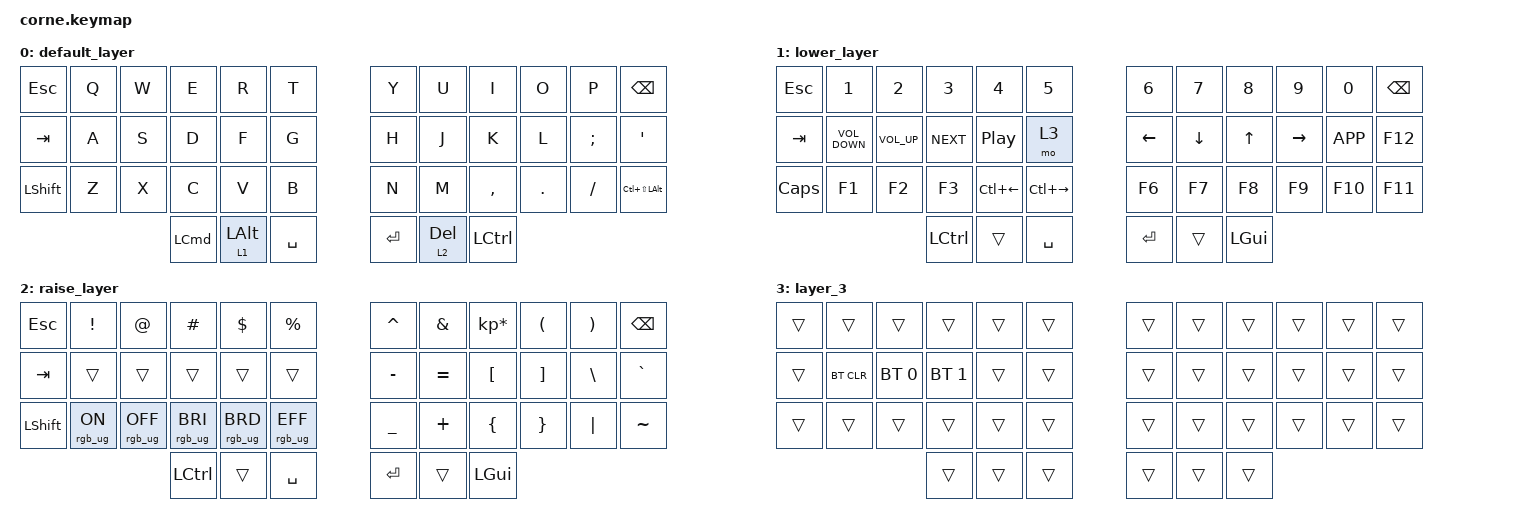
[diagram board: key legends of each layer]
/*
 * Copyright (c) 2020 The ZMK Contributors
 *
 * SPDX-License-Identifier: MIT
 */

#include <dt-bindings/led/led.h>
#include <behaviors.dtsi>
#include <dt-bindings/zmk/bt.h>
#include <dt-bindings/zmk/keys.h>
#include <dt-bindings/zmk/rgb.h>

&led_strip { chain-length = <27>; };

/ {
    keymap {
        compatible = "zmk,keymap";

        default_layer {
            // -----------------------------------------------------------------------------------------
            // |  TAB |  Q  |  W  |  E  |  R  |  T  |   |  Y  |  U   |  I  |  O  |  P  | BKSP |
            // | CTRL |  A  |  S  |  D  |  F  |  G  |   |  H  |  J   |  K  |  L  |  ;  |  '   |
            // | SHFT |  Z  |  X  |  C  |  V  |  B  |   |  N  |  M   |  ,  |  .  |  /  | ESC  |
            //                    | GUI | LWR | SPC |   | ENT | RSE  | ALT |

            bindings = <
&kp ESC    &kp Q  &kp W  &kp E             &kp R           &kp T        &kp Y    &kp U         &kp I             &kp O    &kp P     &kp BSPC
&kp TAB    &kp A  &kp S  &kp D             &kp F           &kp G        &kp H    &kp J         &kp K             &kp L    &kp SEMI  &kp SQT
&kp LSHFT  &kp Z  &kp X  &kp C             &kp V           &kp B        &kp N    &kp M         &kp COMMA         &kp DOT  &kp FSLH  &kp LC(LS(LEFT_ALT))
                         &kp LEFT_COMMAND  &lt 1 LEFT_ALT  &kp SPACE    &kp RET  &lt 2 DELETE  &kp LEFT_CONTROL
            >;
        };

        lower_layer {
            // -----------------------------------------------------------------------------------------
            // |  TAB |  1  |  2  |  3  |  4  |  5  |   |  6  |  7  |  8  |  9  |  0  | BKSP |
            // | CAPS |BTCLR| BT1 | BT2 | BT3 |  BT4|   | LFT | DWN |  UP | RGT | BT5 |  F12 |
            // | SHFT |     |     |     |     |     |   |     |     |     |     |     |      |
            //                    | GUI |     | SPC |   | ENT |     | ALT |

            bindings = <
&kp ESC   &kp N1             &kp N2           &kp N3            &kp N4              &kp N5                 &kp N6    &kp N7    &kp N8        &kp N9     &kp N0     &kp BSPC
&kp TAB   &kp C_VOLUME_DOWN  &kp C_VOLUME_UP  &kp C_NEXT        &kp C_PLAY_PAUSE    &mo 3                  &kp LEFT  &kp DOWN  &kp UP        &kp RIGHT  &kp K_APP  &kp F12
&kp CAPS  &kp F1             &kp F2           &kp F3            &kp LC(LEFT_ARROW)  &kp LC(RIGHT_ARROW)    &kp F6    &kp F7    &kp F8        &kp F9     &kp F10    &kp F11
                                              &kp LEFT_CONTROL  &trans              &kp SPACE              &kp RET   &trans    &kp LEFT_GUI
            >;
        };

        raise_layer {
            // -----------------------------------------------------------------------------------------
            // |  TAB |  !  |  @  |  #  |  $  |  %  |   |  ^  |  &  |  *  |  (  |  )  | BKSP |
            // | CTRL |     |     |     |     |     |   |  -  |  =  |  [  |  ]  |  \  |  `   |
            // | SHFT |     |     |     |     |     |   |  _  |  +  |  {  |  }  | "|" |  ~   |
            //                    | GUI |     | SPC |   | ENT |     | ALT |

            bindings = <
&kp ESC    &kp EXCL        &kp AT           &kp HASH          &kp DLLR         &kp PRCNT          &kp CARET  &kp AMPS   &kp KP_MULTIPLY  &kp LPAR  &kp RPAR  &kp BSPC
&kp TAB    &trans          &trans           &trans            &trans           &trans             &kp MINUS  &kp EQUAL  &kp LBKT         &kp RBKT  &kp BSLH  &kp GRAVE
&kp LSHFT  &rgb_ug RGB_ON  &rgb_ug RGB_OFF  &rgb_ug RGB_BRI   &rgb_ug RGB_BRD  &rgb_ug RGB_EFF    &kp UNDER  &kp PLUS   &kp LBRC         &kp RBRC  &kp PIPE  &kp TILDE
                                            &kp LEFT_CONTROL  &trans           &kp SPACE          &kp RET    &trans     &kp LEFT_GUI
            >;
        };

        layer_3 {
            bindings = <
&trans  &trans      &trans        &trans        &trans  &trans    &trans  &trans  &trans  &trans  &trans  &trans
&trans  &bt BT_CLR  &bt BT_SEL 0  &bt BT_SEL 1  &trans  &trans    &trans  &trans  &trans  &trans  &trans  &trans
&trans  &trans      &trans        &trans        &trans  &trans    &trans  &trans  &trans  &trans  &trans  &trans
                                  &trans        &trans  &trans    &trans  &trans  &trans
            >;
        };
    };
};
